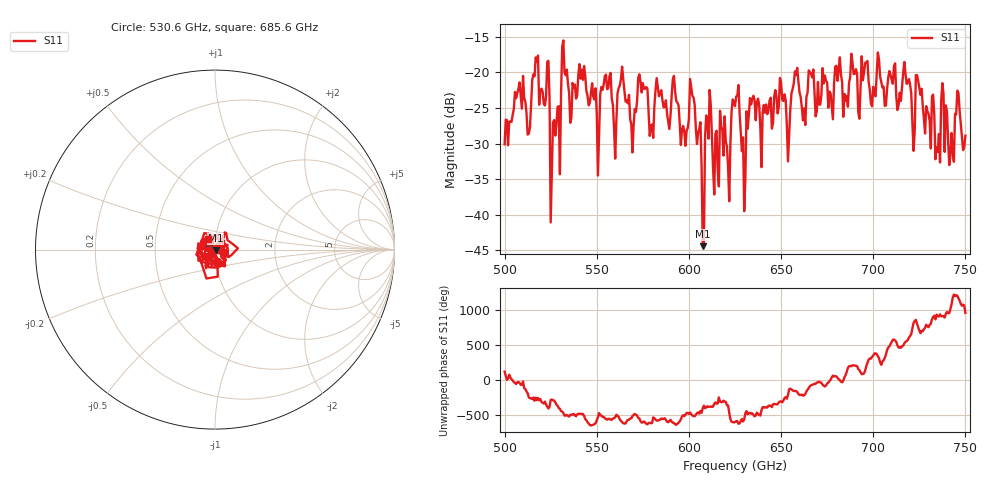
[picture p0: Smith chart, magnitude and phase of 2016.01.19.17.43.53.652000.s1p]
!Created with skrf (http://scikit-rf.org).
# GHz S RI R 50.0
!freq ReS11 ImS11
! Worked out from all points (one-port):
!   401 points, 500 GHz to 750 GHz, reference 50 ohm
!   lowest |S11| = -44.4 dB at 607.5 GHz (marker M1), VSWR 1.01, Z = 50.5 - j0.356 ohm
!   |S11| at or under -10 dB: start of sweep to end of sweep
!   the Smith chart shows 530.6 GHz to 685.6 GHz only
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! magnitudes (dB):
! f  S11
! 500 GHz  -30.1
! 506.9 GHz  -22.9
! 513.1 GHz  -28.6
! 516.9 GHz  -17.9
! 523.1 GHz  -18.5
! 526.2 GHz  -27.0
! 531.2 GHz  -16.4
! 550 GHz  -25.8
! 556.2 GHz  -22.2
! 559.4 GHz  -27.9
! 562.5 GHz  -21.8
! 569.4 GHz  -31.2
! 573.8 GHz  -21.3
! 579.4 GHz  -27.5
! 593.8 GHz  -24.2
! 601.9 GHz  -23.3
! 607.5 GHz  -44.4
! 610.6 GHz  -29.3
! 621.2 GHz  -33.3
! 625 GHz  -24.7
! 629.4 GHz  -29.1
! 634.4 GHz  -23.7
! 656.2 GHz  -22.3
! 687.5 GHz  -20.6
! 718.8 GHz  -21.4
! 735 GHz  -31.1
! 738.1 GHz  -23.0
! 750 GHz  -28.9
